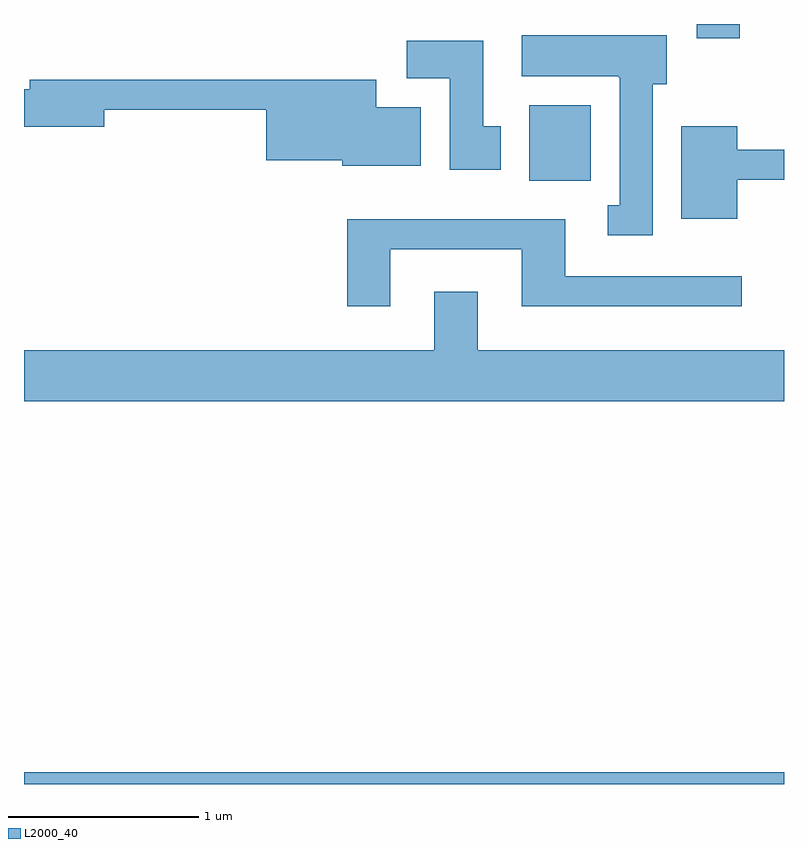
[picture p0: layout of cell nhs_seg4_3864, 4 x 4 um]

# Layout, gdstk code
import gdstk
lib = gdstk.Library(unit=1e-6, precision=1e-09)
def R(c, l, rs):  # rectangles x0, y0, x1, y1
    for r in rs: c.add(gdstk.rectangle(r[:2], r[2:], *l))
def P(c, l, *ps):  # polygons
    for p in ps: c.add(gdstk.Polygon(p, *l))
L2000_40 = (2000, 40)

nhs_seg4_3864 = lib.new_cell('nhs_seg4_3864')
R(nhs_seg4_3864, L2000_40, [(297.611,1365.982,301.611,1366.044), (300.271,1369.156,300.594,1369.554), (301.151,1369.906,301.379,1369.982)])
P(nhs_seg4_3864, L2000_40, [(300.919,1369.666),(300.994,1369.666),(300.994,1369.924),(300.231,1369.924),(300.231,1369.706),(300.74,1369.706),(300.74,1369.7),(300.746,1369.7),(300.746,1369.029),(300.683,1369.029),(300.683,1368.871),(300.919,1368.871)],
  [(300.119,1369.444),(300.029,1369.444),(300.029,1369.894),(299.626,1369.894),(299.626,1369.696),(299.851,1369.696),(299.851,1369.216),(300.119,1369.216)],
  [(299.699,1369.544),(299.464,1369.544),(299.464,1369.689),(297.641,1369.689),(297.641,1369.639),(297.611,1369.639),(297.611,1369.441),(298.034,1369.441),(298.034,1369.531),(298.886,1369.531),(298.886,1369.266),(299.286,1369.266),(299.286,1369.236),(299.699,1369.236)],
  [(301.364,1369.161),(301.611,1369.161),(301.611,1369.319),(301.364,1369.319),(301.364,1369.444),(301.071,1369.444),(301.071,1368.956),(301.364,1368.956)],
  [(299.539,1368.796),(300.231,1368.796),(300.231,1368.496),(301.388,1368.496),(301.388,1368.654),(300.459,1368.654),(300.459,1368.954),(299.311,1368.954),(299.311,1368.496),(299.539,1368.496)],
  [(301.611,1368.264),(299.999,1368.264),(299.999,1368.574),(299.771,1368.574),(299.771,1368.264),(297.611,1368.264),(297.611,1367.996),(301.611,1367.996)])

lib.write_gds('nhs_seg4_3864.gds')
